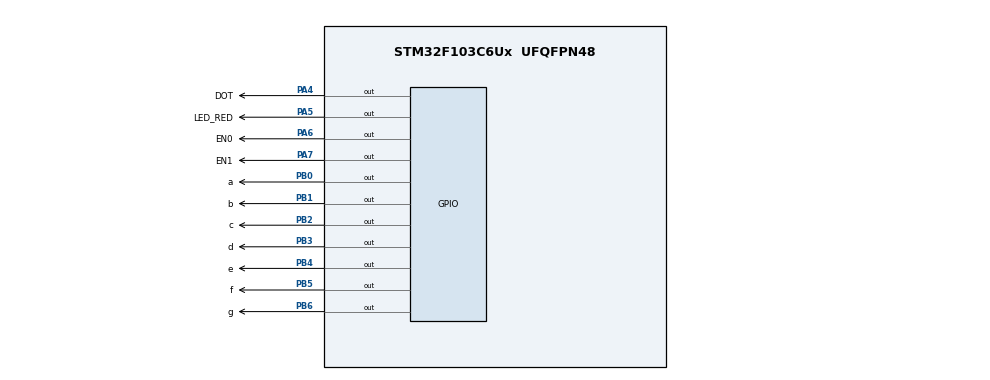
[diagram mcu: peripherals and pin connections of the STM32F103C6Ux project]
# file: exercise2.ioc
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Mcu.Family=STM32F1
Mcu.Name=STM32F103C6Ux
Mcu.Package=UFQFPN48
NVIC.PriorityGroup=NVIC_PRIORITYGROUP_4
NVIC.TIM2_IRQn=true\:0\:0\:false\:false\:true\:true\:true
PA4.GPIO_Label=DOT
PA4.Signal=GPIO_Output
PA5.GPIO_Label=LED_RED
PA5.Signal=GPIO_Output
PA6.GPIO_Label=EN0
PA6.Signal=GPIO_Output
PA7.GPIO_Label=EN1
PA7.Signal=GPIO_Output
PB0.GPIO_Label=a
PB0.Signal=GPIO_Output
PB1.GPIO_Label=b
PB1.Signal=GPIO_Output
PB2.GPIO_Label=c
PB2.Signal=GPIO_Output
PB3.GPIO_Label=d
PB3.Signal=GPIO_Output
PB4.GPIO_Label=e
PB4.Signal=GPIO_Output
PB5.GPIO_Label=f
PB5.Signal=GPIO_Output
PB6.GPIO_Label=g
PB6.Signal=GPIO_Output
ProjectManager.HeapSize=0x200
ProjectManager.StackSize=0x400
ProjectManager.TargetToolchain=STM32CubeIDE
RCC.APB1Freq_Value=8000000
RCC.APB2Freq_Value=8000000
TIM2.Period=9
TIM2.Prescaler=7999
VP_SYS_VS_ND.Mode=No_Debug
VP_TIM2_VS_ClockSourceINT.Mode=Internal
board=custom

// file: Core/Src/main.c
/* USER CODE BEGIN Header */
/**
  ******************************************************************************
  * @file           : main.c
  * @brief          : Main program body
  ******************************************************************************
  * @attention
  *
  * <h2><center>&copy; Copyright (c) 2026 STMicroelectronics.
  * All rights reserved.</center></h2>
  *
  * This software component is licensed by ST under BSD 3-Clause license,
  * the "License"; You may not use this file except in compliance with the
  * License. You may obtain a copy of the License at:
  *                        opensource.org/licenses/BSD-3-Clause
  *
  ******************************************************************************
  */
/* USER CODE END Header */
#include "main.h"
#include "software.h"

TIM_HandleTypeDef htim2;

void SystemClock_Config(void);
static void MX_GPIO_Init(void);
static void MX_TIM2_Init(void);

/* USER CODE BEGIN 0 */
void display7SEG(int num) {
	if (num < 0 || num > 9) return;
	    // Bảng trạng thái trực tiếp của 7 nét (a, b, c, d, e, f, g)
	    // Mức 0 = Sáng, Mức 1 = Tắt
	    const GPIO_PinState led_map[10][7] = {
	        {0, 0, 0, 0, 0, 0, 1}, // Số 0 (Chỉ tắt nét g)
	        {1, 0, 0, 1, 1, 1, 1}, // Số 1 (Chỉ sáng b, c)
	        {0, 0, 1, 0, 0, 1, 0}, // Số 2
	        {0, 0, 0, 0, 1, 1, 0}, // Số 3
	        {1, 0, 0, 1, 1, 0, 0}, // Số 4
	        {0, 1, 0, 0, 1, 0, 0}, // Số 5
	        {0, 1, 0, 0, 0, 0, 0}, // Số 6
	        {0, 0, 0, 1, 1, 1, 1}, // Số 7
	        {0, 0, 0, 0, 0, 0, 0}, // Số 8 (Sáng tất cả)
	        {0, 0, 0, 0, 1, 0, 0}  // Số 9
	    };

	    // Xuất thẳng trạng thái từ mảng ra các chân GPIO
	    HAL_GPIO_WritePin(a_GPIO_Port, a_Pin, led_map[num][0]);
	    HAL_GPIO_WritePin(b_GPIO_Port, b_Pin, led_map[num][1]);
	    HAL_GPIO_WritePin(c_GPIO_Port, c_Pin, led_map[num][2]);
	    HAL_GPIO_WritePin(d_GPIO_Port, d_Pin, led_map[num][3]);
	    HAL_GPIO_WritePin(e_GPIO_Port, e_Pin, led_map[num][4]);
	    HAL_GPIO_WritePin(f_GPIO_Port, f_Pin, led_map[num][5]);
	    HAL_GPIO_WritePin(g_GPIO_Port, g_Pin, led_map[num][6]);

}
/* USER CODE END 0 */
int led_idx=1;
int main(void)
{

  /* MCU Configuration--------------------------------------------------------*/

  /* Reset of all peripherals, Initializes the Flash interface and the Systick. */
  HAL_Init();

  /* Configure the system clock */
  SystemClock_Config();

  /* Initialize all configured peripherals */
  MX_GPIO_Init();
  MX_TIM2_Init();
  /* USER CODE BEGIN 2 */
  HAL_TIM_Base_Start_IT(&htim2);
  setTimer1(50);
  setTimer2(100);
  /* USER CODE END 2 */

  /* Infinite loop */
  while (1)
  {

  }
}

void SystemClock_Config(void)
{
  RCC_OscInitTypeDef RCC_OscInitStruct = {0};
  RCC_ClkInitTypeDef RCC_ClkInitStruct = {0};

  /** Initializes the RCC Oscillators according to the specified parameters
  * in the RCC_OscInitTypeDef structure.
  */
  RCC_OscInitStruct.OscillatorType = RCC_OSCILLATORTYPE_HSI;
  RCC_OscInitStruct.HSIState = RCC_HSI_ON;
  RCC_OscInitStruct.HSICalibrationValue = RCC_HSICALIBRATION_DEFAULT;
  RCC_OscInitStruct.PLL.PLLState = RCC_PLL_NONE;
  if (HAL_RCC_OscConfig(&RCC_OscInitStruct) != HAL_OK)
  {
    Error_Handler();
  }
  /** Initializes the CPU, AHB and APB buses clocks
  */
  RCC_ClkInitStruct.ClockType = RCC_CLOCKTYPE_HCLK|RCC_CLOCKTYPE_SYSCLK
                              |RCC_CLOCKTYPE_PCLK1|RCC_CLOCKTYPE_PCLK2;
  RCC_ClkInitStruct.SYSCLKSource = RCC_SYSCLKSOURCE_HSI;
  RCC_ClkInitStruct.AHBCLKDivider = RCC_SYSCLK_DIV1;
  RCC_ClkInitStruct.APB1CLKDivider = RCC_HCLK_DIV1;
  RCC_ClkInitStruct.APB2CLKDivider = RCC_HCLK_DIV1;

  if (HAL_RCC_ClockConfig(&RCC_ClkInitStruct, FLASH_LATENCY_0) != HAL_OK)
  {
    Error_Handler();
  }
}

static void MX_TIM2_Init(void)
{

  TIM_ClockConfigTypeDef sClockSourceConfig = {0};
  TIM_MasterConfigTypeDef sMasterConfig = {0};

  htim2.Instance = TIM2;
  htim2.Init.Prescaler = 7999;
  htim2.Init.CounterMode = TIM_COUNTERMODE_UP;
  htim2.Init.Period = 9;
  htim2.Init.ClockDivision = TIM_CLOCKDIVISION_DIV1;
  htim2.Init.AutoReloadPreload = TIM_AUTORELOAD_PRELOAD_DISABLE;
  if (HAL_TIM_Base_Init(&htim2) != HAL_OK)
  {
    Error_Handler();
  }
  sClockSourceConfig.ClockSource = TIM_CLOCKSOURCE_INTERNAL;
  if (HAL_TIM_ConfigClockSource(&htim2, &sClockSourceConfig) != HAL_OK)
  {
    Error_Handler();
  }
  sMasterConfig.MasterOutputTrigger = TIM_TRGO_RESET;
  sMasterConfig.MasterSlaveMode = TIM_MASTERSLAVEMODE_DISABLE;
  if (HAL_TIMEx_MasterConfigSynchronization(&htim2, &sMasterConfig) != HAL_OK)
  {
    Error_Handler();
  }

}

static void MX_GPIO_Init(void)
{
  GPIO_InitTypeDef GPIO_InitStruct = {0};

  /* GPIO Ports Clock Enable */
  __HAL_RCC_GPIOA_CLK_ENABLE();
  __HAL_RCC_GPIOB_CLK_ENABLE();

  /*Configure GPIO pin Output Level */
  HAL_GPIO_WritePin(GPIOA, DOT_Pin|LED_RED_Pin|EN0_Pin|EN1_Pin, GPIO_PIN_RESET);

  /*Configure GPIO pin Output Level */
  HAL_GPIO_WritePin(GPIOB, a_Pin|b_Pin|c_Pin|d_Pin
                          |e_Pin|f_Pin|g_Pin, GPIO_PIN_RESET);

  /*Configure GPIO pins : DOT_Pin LED_RED_Pin EN0_Pin EN1_Pin */
  GPIO_InitStruct.Pin = DOT_Pin|LED_RED_Pin|EN0_Pin|EN1_Pin;
  GPIO_InitStruct.Mode = GPIO_MODE_OUTPUT_PP;
  GPIO_InitStruct.Pull = GPIO_NOPULL;
  GPIO_InitStruct.Speed = GPIO_SPEED_FREQ_LOW;
  HAL_GPIO_Init(GPIOA, &GPIO_InitStruct);

  /*Configure GPIO pins : a_Pin b_Pin c_Pin d_Pin
                           e_Pin f_Pin g_Pin */
  GPIO_InitStruct.Pin = a_Pin|b_Pin|c_Pin|d_Pin
                          |e_Pin|f_Pin|g_Pin;
  GPIO_InitStruct.Mode = GPIO_MODE_OUTPUT_PP;
  GPIO_InitStruct.Pull = GPIO_NOPULL;
  GPIO_InitStruct.Speed = GPIO_SPEED_FREQ_LOW;
  HAL_GPIO_Init(GPIOB, &GPIO_InitStruct);

}

/* USER CODE BEGIN 4 */

void HAL_TIM_PeriodElapsedCallback(TIM_HandleTypeDef *htim){
	if (htim->Instance == TIM2){
		timerRun();
		if(timer1_flag==1){
			setTimer1(50);
			HAL_GPIO_WritePin(EN0_GPIO_Port, EN0_Pin, GPIO_PIN_SET);
			HAL_GPIO_WritePin(EN1_GPIO_Port, EN1_Pin, GPIO_PIN_SET);
			switch(led_idx){
			case 1:
				display7SEG(1);
				HAL_GPIO_WritePin(EN0_GPIO_Port, EN0_Pin, GPIO_PIN_RESET);
				break;
			case 2:
				display7SEG(2);
				HAL_GPIO_WritePin(EN1_GPIO_Port, EN1_Pin, GPIO_PIN_RESET);
				break;
			}
			led_idx++;
			if(led_idx>=3) led_idx=1;
		}
		if(timer2_flag == 1){
			setTimer2(100);
			HAL_GPIO_TogglePin(DOT_GPIO_Port,DOT_Pin);
			HAL_GPIO_TogglePin(LED_RED_GPIO_Port, LED_RED_Pin);
		}
}
}
/* USER CODE END 4 */

void Error_Handler(void)
{
  __disable_irq();
  while (1)
  {
  }
}

/************************ (C) COPYRIGHT STMicroelectronics *****END OF FILE****/
